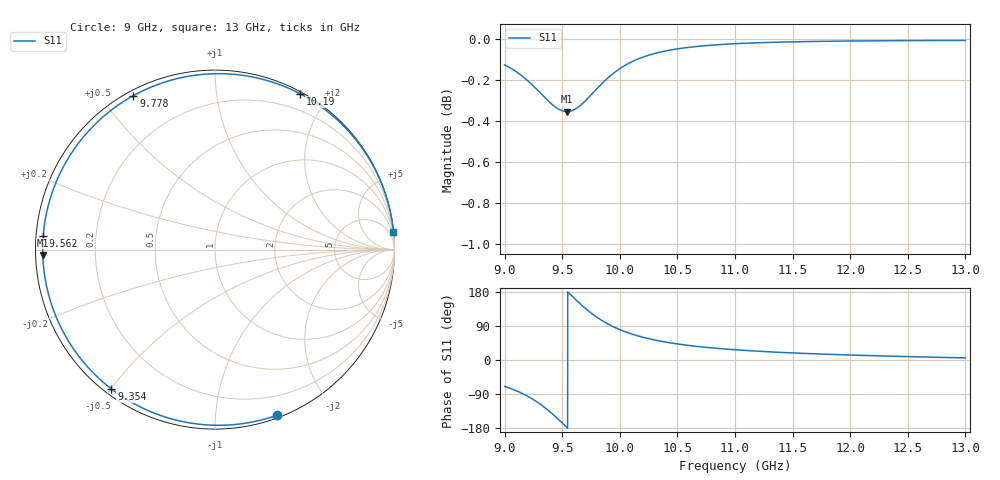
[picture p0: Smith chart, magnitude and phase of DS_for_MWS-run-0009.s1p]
! TOUCHSTONE file generated by CST DESIGN STUDIO
! Date and time: Tue Feb  4 13:37:51 2025
! Project name: C:\Work\MatlabApps\UnitCellOptimizationMatlab\CST\unitcell.cst
! Tree item: Tasks\Sweep1\SPara1\S-Parameters
! Header version: 2024
! Port assignment regex: !\s*Touchstone port\s*([0-9]+)\s*=\s*(CST MWS port|CST DES external port|CST DES block port)\s*(.+)\s* \(\"(.*)\"\)(\s*mode\s*([0-9]+))?.*
! Touchstone port assignment:
! Touchstone port 1 = CST DES external port 1 ("")
# GHz S MA R 50
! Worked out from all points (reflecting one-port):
!   4001 points, 9 GHz to 13 GHz, reference 50 ohm
!   lowest |S11| = -0.4 dB at 9.541 GHz (marker M1), VSWR 49.06, Z = 1.02 - j0.785 ohm
!   phase of S11 starts at -70 deg and turns -285 deg over the sweep
!   S11 on the Smith chart (normalised r, x): 9 GHz: 0.02, -1.44; 9.354 GHz: 0.02, -0.50; 9.562 GHz: 0.02, +0.04; 9.778 GHz: 0.02, +0.60; 10.19 GHz: 0.02, +1.69; 13 GHz: 0, +21
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9  0.9855 -69.6
9.101  0.9817 -81.1
9.21  0.9762 -97.3
9.286  0.9716 -111.5
9.354  0.9673 -126.6
9.424  0.9632 -144.5
9.464  0.9615 -155.6
9.5  0.9605 -166.1
9.541  0.96 -178.2
9.562  0.9602 175.5
9.616  0.9615 159.7
9.677  0.9644 142.6
9.727  0.9675 129.8
9.778  0.9709 117.9
9.825  0.9739 108.1
9.876  0.9771 98.6
9.933  0.9802 89.4
10  0.9834 80.1
10.089  0.9867 70.0
10.185  0.9894 61.3
10.329  0.9922 51.2
10.5  0.9943 42.4
10.721  0.996 34.2
11  0.9972 27.0
11.5  0.9982 18.6
12  0.9987 13.1
12.5  0.9989 8.9
13  0.999 5.5
